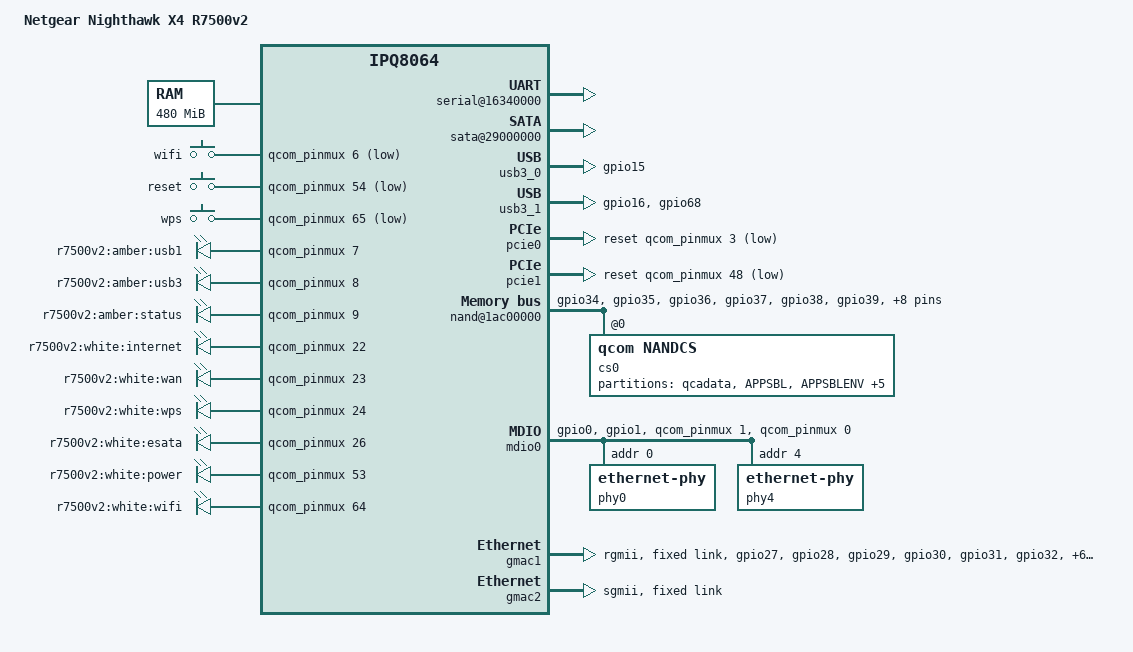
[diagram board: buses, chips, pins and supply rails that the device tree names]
#include "qcom-ipq8064-v2.0.dtsi"

#include <dt-bindings/input/input.h>

/ {
	model = "Netgear Nighthawk X4 R7500v2";
	compatible = "netgear,r7500v2", "qcom,ipq8064";

	memory@0 {
		reg = <0x42000000 0x1e000000>;
		device_type = "memory";
	};

	reserved-memory {
		#address-cells = <1>;
		#size-cells = <1>;
		ranges;
		rsvd@41200000 {
			reg = <0x41200000 0x300000>;
			no-map;
		};

		rsvd@5fe00000 {
			reg = <0x5fe00000 0x200000>;
			reusable;
		};
	};

	aliases {
		serial0 = &gsbi4_serial;
		mdio-gpio0 = &mdio0;

		led-boot = &power;
		led-failsafe = &power;
		led-running = &power;
		led-upgrade = &power;
	};

	chosen {
		bootargs = "rootfstype=squashfs noinitrd";
		stdout-path = "serial0:115200n8";
	};

	soc {
		pinmux@800000 {
			button_pins: button_pins {
				mux {
					pins = "gpio6", "gpio54", "gpio65";
					function = "gpio";
					drive-strength = <2>;
					bias-pull-up;
				};
			};

			i2c4_pins: i2c4_pinmux {
				mux {
					pins = "gpio12", "gpio13";
					function = "gsbi4";
					drive-strength = <12>;
					bias-disable;
				};
			};

			led_pins: led_pins {
				mux {
					pins = "gpio7", "gpio8", "gpio9", "gpio22", "gpio23",
						"gpio24","gpio26", "gpio53", "gpio64";
					function = "gpio";
					drive-strength = <2>;
					bias-pull-up;
				};
			};

			mdio0_pins: mdio0_pins {
				mux {
					pins = "gpio0", "gpio1";
					function = "gpio";
					drive-strength = <8>;
					bias-disable;
				};
			};

			nand_pins: nand_pins {
				disable {
					pins = "gpio34", "gpio35", "gpio36",
					       "gpio37", "gpio38";
					function = "nand";
					drive-strength = <10>;
					bias-disable;
				};

				pullups {
					pins = "gpio39";
					function = "nand";
					drive-strength = <10>;
					bias-pull-up;
				};

				hold {
					pins = "gpio40", "gpio41", "gpio42",
					       "gpio43", "gpio44", "gpio45",
					       "gpio46", "gpio47";
					function = "nand";
					drive-strength = <10>;
					bias-bus-hold;
				};
			};

			rgmii2_pins: rgmii2_pins {
				mux {
					pins = "gpio27", "gpio28", "gpio29", "gpio30", "gpio31", "gpio32",
					       "gpio51", "gpio52", "gpio59", "gpio60", "gpio61", "gpio62" ;
					function = "rgmii2";
					drive-strength = <8>;
					bias-disable;
				};
			};

			usb0_pwr_en_pins: usb0_pwr_en_pins {
				mux {
					pins = "gpio15";
					function = "gpio";
					drive-strength = <12>;
					bias-pull-down;
					output-high;
				};
			};

			usb1_pwr_en_pins: usb1_pwr_en_pins {
				mux {
					pins = "gpio16", "gpio68";
					function = "gpio";
					drive-strength = <12>;
					bias-pull-down;
					output-high;
				};
			};
		};

		gsbi@16300000 {
			qcom,mode = <GSBI_PROT_I2C_UART>;
			status = "okay";
			serial@16340000 {
				status = "okay";
			};
			/*
			 * The i2c device on gsbi4 should not be enabled.
			 * On ipq806x designs gsbi4 i2c is meant for exclusive
			 * RPM usage. Turning this on in kernel manifests as
			 * i2c failure for the RPM.
			 */
		};

		sata-phy@1b400000 {
			status = "okay";
		};

		sata@29000000 {
			status = "okay";
		};

		usb3_0: usb3@110f8800 {
			status = "okay";

			pinctrl-0 = <&usb0_pwr_en_pins>;
			pinctrl-names = "default";
		};

		usb3_1: usb3@100f8800 {
			status = "okay";

			pinctrl-0 = <&usb1_pwr_en_pins>;
			pinctrl-names = "default";
		};

		pcie0: pci@1b500000 {
			status = "okay";
			reset-gpio = <&qcom_pinmux 3 GPIO_ACTIVE_LOW>;
			pinctrl-0 = <&pcie0_pins>;
			pinctrl-names = "default";
		};

		pcie1: pci@1b700000 {
			status = "okay";
			reset-gpio = <&qcom_pinmux 48 GPIO_ACTIVE_LOW>;
			pinctrl-0 = <&pcie1_pins>;
			pinctrl-names = "default";
			force_gen1 = <1>;
		};

		nand@1ac00000 {
			status = "okay";

			pinctrl-0 = <&nand_pins>;
			pinctrl-names = "default";

			cs0 {
				reg = <0>;
				compatible = "qcom,nandcs";

				nand-ecc-strength = <4>;
				nand-bus-width = <8>;
				nand-ecc-step-size = <512>;

				partitions {
					compatible = "fixed-partitions";
					#address-cells = <1>;
					#size-cells = <1>;

					qcadata@0 {
						label = "qcadata";
						reg = <0x0000000 0x0c80000>;
						read-only;
					};

					APPSBL@c80000 {
						label = "APPSBL";
						reg = <0x0c80000 0x0500000>;
						read-only;
					};

					APPSBLENV@1180000 {
						label = "APPSBLENV";
						reg = <0x1180000 0x0080000>;
						read-only;
					};

					art: art@1200000 {
						label = "art";
						reg = <0x1200000 0x0140000>;
						read-only;
					};

					artbak: art@1340000 {
						label = "artbak";
						reg = <0x1340000 0x0140000>;
						read-only;
					};

					kernel@1480000 {
						label = "kernel";
						reg = <0x1480000 0x0400000>;
					};

					ubi@1880000 {
						label = "ubi";
						reg = <0x1880000 0x6080000>;
					};

					reserve@7900000 {
						label = "reserve";
						reg = <0x7900000 0x0700000>;
						read-only;
					};
				};
			};
		};

		mdio0: mdio {
			compatible = "virtual,mdio-gpio";
			#address-cells = <1>;
			#size-cells = <0>;
			gpios = <&qcom_pinmux 1 GPIO_ACTIVE_HIGH>,
				<&qcom_pinmux 0 GPIO_ACTIVE_HIGH>;
			pinctrl-0 = <&mdio0_pins>;
			pinctrl-names = "default";

			phy0: ethernet-phy@0 {
				reg = <0>;
				qca,ar8327-initvals = <
					0x00004 0x7600000   /* PAD0_MODE */
					0x00008 0x1000000   /* PAD5_MODE */
					0x0000c 0x80        /* PAD6_MODE */
					0x000e4 0xaa545     /* MAC_POWER_SEL */
					0x000e0 0xc74164de  /* SGMII_CTRL */
					0x0007c 0x4e        /* PORT0_STATUS */
					0x00094 0x4e        /* PORT6_STATUS */
					>;
			};

			phy4: ethernet-phy@4 {
				reg = <4>;
			};
		};

		gmac1: ethernet@37200000 {
			status = "okay";
			phy-mode = "rgmii";
			qcom,id = <1>;

			pinctrl-0 = <&rgmii2_pins>;
			pinctrl-names = "default";

			mtd-mac-address = <&art 6>;

			fixed-link {
				speed = <1000>;
				full-duplex;
			};
		};

		gmac2: ethernet@37400000 {
			status = "okay";
			phy-mode = "sgmii";
			qcom,id = <2>;

			mtd-mac-address = <&art 0>;

			fixed-link {
				speed = <1000>;
				full-duplex;
			};
		};
	};

	keys {
		compatible = "gpio-keys";
		pinctrl-0 = <&button_pins>;
		pinctrl-names = "default";

		wifi {
			label = "wifi";
			gpios = <&qcom_pinmux 6 GPIO_ACTIVE_LOW>;
			linux,code = <KEY_RFKILL>;
		};

		reset {
			label = "reset";
			gpios = <&qcom_pinmux 54 GPIO_ACTIVE_LOW>;
			linux,code = <KEY_RESTART>;
		};

		wps {
			label = "wps";
			gpios = <&qcom_pinmux 65 GPIO_ACTIVE_LOW>;
			linux,code = <KEY_WPS_BUTTON>;
		};
	};

	leds {
		compatible = "gpio-leds";
		pinctrl-0 = <&led_pins>;
		pinctrl-names = "default";

		usb1 {
			label = "r7500v2:amber:usb1";
			gpios = <&qcom_pinmux 7 GPIO_ACTIVE_HIGH>;
		};

		usb3 {
			label = "r7500v2:amber:usb3";
			gpios = <&qcom_pinmux 8 GPIO_ACTIVE_HIGH>;
		};

		status {
			label = "r7500v2:amber:status";
			gpios = <&qcom_pinmux 9 GPIO_ACTIVE_HIGH>;
		};

		internet {
			label = "r7500v2:white:internet";
			gpios = <&qcom_pinmux 22 GPIO_ACTIVE_HIGH>;
		};

		wan {
			label = "r7500v2:white:wan";
			gpios = <&qcom_pinmux 23 GPIO_ACTIVE_HIGH>;
		};

		wps {
			label = "r7500v2:white:wps";
			gpios = <&qcom_pinmux 24 GPIO_ACTIVE_HIGH>;
		};

		esata {
			label = "r7500v2:white:esata";
			gpios = <&qcom_pinmux 26 GPIO_ACTIVE_HIGH>;
		};

		power: power {
			label = "r7500v2:white:power";
			gpios = <&qcom_pinmux 53 GPIO_ACTIVE_HIGH>;
			default-state = "keep";
		};

		wifi {
			label = "r7500v2:white:wifi";
			gpios = <&qcom_pinmux 64 GPIO_ACTIVE_HIGH>;
		};
	};
};

&adm_dma {
	status = "okay";
};
